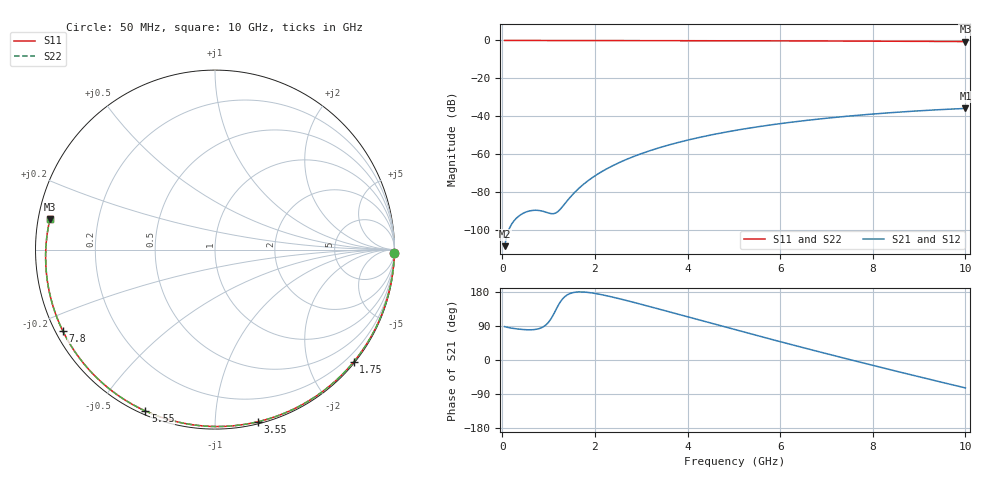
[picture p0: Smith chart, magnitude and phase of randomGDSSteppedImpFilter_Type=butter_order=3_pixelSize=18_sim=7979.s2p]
! freq	dB(S11)	phase(S11)	dB(S12)	phase(S12)
!  dB(S21)	phase(S21)	dB(S22)	phase(S22)
!S-par simulation data
#  GHz  S  DB  R 50
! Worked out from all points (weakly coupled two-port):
!   200 points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, 50 MHz to 10 GHz, reference 50 ohm
!   highest |S21| = -35.86 dB at 10 GHz (marker M1); lowest = -108.5 dB at 50 MHz (marker M2)
!   lowest |S11| = -0.6 dB at 10 GHz (marker M3), VSWR 29.91, Z = 1.69 + j4.53 ohm
!   |S11| at or under -10 dB: nowhere
!   |S22| runs from -0.6 to 0.0 dB; largest |S21 - S12| = 0
!   S11 on the Smith chart (normalised r, x): 50 MHz: open; 1.75 GHz: 0.03, -2.83; 3.55 GHz: 0.02, -1.28; 5.55 GHz: 0.02, -0.66; 7.8 GHz: 0.02, -0.25; 10 GHz: 0.03, +0.09
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0.05  -0.00 -1.1  -108.50 88.1  -108.50 88.1  -0.00 -1.1
0.45  -0.02 -10.2  -91.16 80.4  -91.16 80.4  -0.02 -10.2
0.8  -0.02 -18.0  -89.70 83.0  -89.70 83.0  -0.02 -18.0
1.55  -0.04 -34.6  -80.46 178.4  -80.46 178.4  -0.04 -34.6
1.6  -0.05 -35.7  -79.23 179.2  -79.23 179.2  -0.05 -35.7
1.75  -0.05 -39.0  -75.93 179.4  -75.93 179.4  -0.05 -38.9
2.05  -0.06 -45.4  -70.64 174.6  -70.64 174.6  -0.06 -45.4
2.25  -0.06 -49.6  -67.77 169.7  -67.77 169.7  -0.06 -49.6
2.45  -0.07 -53.8  -65.28 164.0  -65.28 164.0  -0.07 -53.8
2.9  -0.08 -63.1  -60.61 150.2  -60.61 150.2  -0.08 -63.1
3.4  -0.10 -73.2  -56.51 133.9  -56.51 133.9  -0.10 -73.2
3.55  -0.10 -76.1  -55.44 128.9  -55.44 128.9  -0.10 -76.1
4.3  -0.13 -90.6  -50.90 104.0  -50.90 104.0  -0.13 -90.6
5.05  -0.16 -104.4  -47.37 79.2  -47.37 79.2  -0.16 -104.4
5.55  -0.18 -113.4  -45.41 62.9  -45.41 62.9  -0.18 -113.4
6.1  -0.21 -123.0  -43.55 45.2  -43.55 45.2  -0.21 -123.0
6.7  -0.25 -133.3  -41.80 26.1  -41.80 26.1  -0.25 -133.3
7.25  -0.30 -142.7  -40.42 8.9  -40.42 8.9  -0.30 -142.7
7.8  -0.34 -152.0  -39.21 -8.0  -39.21 -8.0  -0.34 -152.0
8.35  -0.39 -161.4  -38.16 -24.8  -38.16 -24.8  -0.39 -161.3
9.2  -0.49 -176.1  -36.82 -50.2  -36.82 -50.2  -0.49 -176.0
10  -0.58 169.6  -35.86 -73.7  -35.86 -73.7  -0.58 169.7
